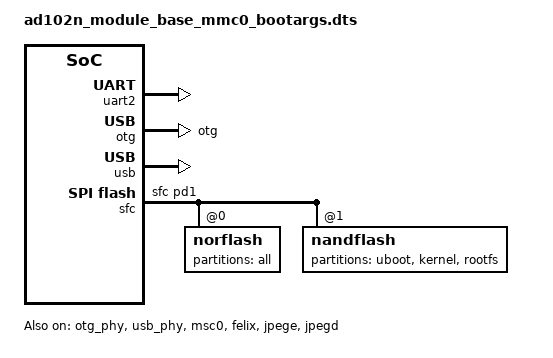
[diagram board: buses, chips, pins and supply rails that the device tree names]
/dts-v1/;

#include <dt-bindings/input/input.h>
#include "../ad100.dtsi"
#include <dt-bindings/interrupt-controller/irq.h>
#include <generated/autoconf.h>

/*
    reserved-memory 大小说明：（需要的最小值）

	例如：1080p, 参考帧为 4 帧，没有 B 帧的视频解码，需要预留的内存大小：
	dec_mem:
         frame_size = 1920 * 1088 * 3 / 2 = 3110400;
		 mb_size = (1920 / 16) * (1088 / 16) * 136 = 1109760
         dec_mem = (ref_frame_count + 1) * (frame_size + mb_size) + 其他结构体 + v4l2 mem
                     = (4 + 1) * 4220160 + 360448 + 1048576
                     = 21.5M
		同理算出720p需要内存为 = 10.3M
        ps:
          1.计算出来的内存为极限值，并且只对于 h264 解码，需要多预留
          2.此为使用libhardware2 接口内存计算方式，若使用ffmpeg以ffmpeg实际使用为准
          3.要想降低使用内存，则需要编码只采用 1 帧参考帧，则 1080p 只需要 9.4M
          4.ref frame count 可以使用 cmd_h264_parse 命令查看
*/

/ {
	compatible = "ingenic,ad100";

	chosen {
		bootargs = "console=ttyS2,3000000n8 quiet mem=48M@0x0 rmem=16M@0x3000000 init=/linuxrc root=/dev/mmcblk0p3 rootwait rootfstype=squashfs ro";
	};

	/*
		reserved_mem@0x5000000: 对应预留内存地址起始位置为0x5000000
		reg = <0x05000000 0x2000000>: 分别对应起始位置为0x05000000, 大小为0x2000000
		配置的凭据以此芯片ad100为例, 内存总大小为64M, 即总大小为0x4000000
		ad100通用对应的uboot配置里设置了RMEM_MB=8, 因此总地址的后8M会被RMEM占用, 则剩余内存大小为0x3800000
		由此当我们分配10M预留内存给reserved_memory时, 起始地址则为0x3800000-0xA00000 = 0x2E00000, 大小为0xA00000
		如果需要改变此区域大小, 需要同时修改起始地址和大小(reserved_mem@0x2E00000 和 reg = <0x2E00000 0xA00000> 的地址需要一起修改)
		需要用到该地址申请内存的驱动, 需要加上 memory-region=<&reserved_memory>; 详细参考下面 felix 等的用法
	*/

	/*
	reserved-memory {
		#address-cells = <1>;
		#size-cells = <1>;
		ranges =<>;

		reserved_memory: reserved_mem@0x2E00000{
			compatible = "shared-dma-pool";
			reg = <0x2E00000 0xA00000>;
		};
	};
	*/
};

&uart1 {
	status = "disable";
	pinctrl-names = "default";
	pinctrl-0 = <&uart1_pc>;
};

&uart2 {
	status = "okay";
	pinctrl-names = "default";
	pinctrl-0 = <&uart2_pd>;
};

&otg {
	dr_mode = "otg"; // host,peripheral,otg
	status = "okay";
};

&usb {
	status = "okay";
};

&otg_phy {
	status = "okay";
};

&usb_phy {
	status = "okay";
};

&pinctrl {
	ingenic,gpa_voltage = <GPIO_VOLTAGE_3V3>;
	ingenic,gpe_msc_voltage = <GPIO_VOLTAGE_3V3>;
};

&msc0 {
	status = "okay";
	pinctrl-names ="default";
	pinctrl-0 = <&msc0_4bit>;
	non-removable;
	max-frequency = <100000000>;
	bus-width = <4>;
	voltage-ranges = <3300 3300>;

	/* special property */
	ingenic,rst-gpios = <0>;
};

&tcu0 {
	status = "disable";
};

&tcu1 {
	status = "disable";
};

/ {

	extclk: extclk {
		clock-frequency = <24000000>;
	};
};

/* 加上 memory-region=<&reserved_memory>; 表示会用上方设置的预留内存地址和大小作为内存申请 */
&felix {
	status = "okay";
	/* memory-region=<&reserved_memory>; */
};

&jpege {
	status = "okay";
};

&jpegd {
	status = "okay";
};

&pdma {
	status = "okay";
};

&pdma1 {
	status = "okay";
};

&sfc {
	status = "okay";
	pinctrl-names = "default";
	pinctrl-0 = <&sfc_pd1>;
	ingenic,sfc-max-frequency = <100000000>;
	ingenic,sfc-init-frequency= <40000000>;
	ingenic,use_ofpart_info  = /bits/ 8 <1>;
	ingenic,spiflash_param_offset = <0>;

	norflash@0 {
		partitions {
			compatible = "fixed-partitions";
			#address-cells = <1>;
			#size-cells = <1>;

			/* spi nor flash partition */
			all@0 {
				label = "all";
				reg = <0x0000000 0x1000000>;
			};
		};
	};

	nandflash@1 {
		partitions {
			compatible = "fixed-partitions";
			#address-cells = <1>;
			#size-cells = <1>;

			/* spi nand flash partition */
			partition@0 {
				label = "uboot";
				reg = <0x0000000 0x100000>;
				/*read-only;*/
			};

			partition@100000 {
				label = "kernel";
				reg = <0x100000 0x800000>;
			};

			partition@900000 {
				label = "rootfs";
				reg = <0x900000 0xf700000>;
			};
		};
	};
};

/* Board Sleep GPIO configuration. */
/* <0 1 2 3 .... 31>, set one of the pin to state.*/

&gpa {
	ingenic,gpio-sleep-pullup 	= <>;
	ingenic,gpio-sleep-pulldown 	= <>;
	ingenic,gpio-sleep-hiz		= <>;
	ingenic,gpio-sleep-low		= <>;
	ingenic,gpio-sleep-high		= <>;
	ingenic,gpio-sleep-wakeup	= <>;
};

&gpb {
	ingenic,gpio-sleep-pullup 	= <>;
	ingenic,gpio-sleep-pulldown 	= <>;
	ingenic,gpio-sleep-hiz		= <>;
	ingenic,gpio-sleep-low		= <>;
	ingenic,gpio-sleep-high		= <>;
	ingenic,gpio-sleep-wakeup	= <>;
};

&gpc {
	ingenic,gpio-sleep-pullup 	= <>;
	ingenic,gpio-sleep-pulldown 	= <>;
	ingenic,gpio-sleep-hiz		= <>;
	ingenic,gpio-sleep-low		= <>;
	ingenic,gpio-sleep-high		= <>;
	ingenic,gpio-sleep-wakeup	= <>;
};

&gpd {
	ingenic,gpio-sleep-pullup 	= <>;
	ingenic,gpio-sleep-pulldown 	= <>;
	ingenic,gpio-sleep-hiz		= <>;
	ingenic,gpio-sleep-low		= <>;
	ingenic,gpio-sleep-high		= <>;
	ingenic,gpio-sleep-wakeup	= <>;
};

&gpe {
	ingenic,gpio-sleep-pullup 	= <>;
	ingenic,gpio-sleep-pulldown 	= <>;
	ingenic,gpio-sleep-hiz		= <>;
	ingenic,gpio-sleep-low		= <>;
	ingenic,gpio-sleep-high		= <>;
	ingenic,gpio-sleep-wakeup	= <>;
};
